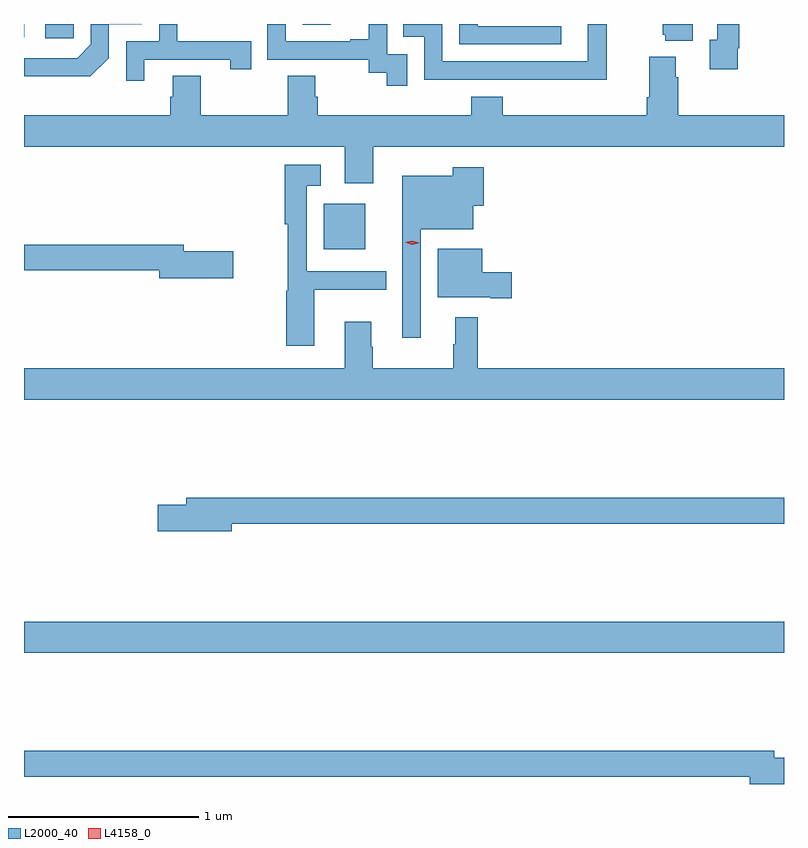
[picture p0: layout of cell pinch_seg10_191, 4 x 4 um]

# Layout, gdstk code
import gdstk
lib = gdstk.Library(unit=1e-6, precision=1e-09)
def R(c, l, rs):  # rectangles x0, y0, x1, y1
    for r in rs: c.add(gdstk.rectangle(r[:2], r[2:], *l))
def P(c, l, *ps):  # polygons
    for p in ps: c.add(gdstk.Polygon(p, *l))
L2000_40 = (2000, 40)
L4158_0 = (4158, 0)

pinch_seg10_191 = lib.new_cell('pinch_seg10_191')
R(pinch_seg10_191, L2000_40, [(855.273,1273.676,859.273,1273.84), (856.85,1275.8,857.068,1276.039), (855.384,1276.911,855.534,1276.985), (855.273,1276.914,855.274,1276.985), (856.74,1276.98,856.888,1276.985)])
P(pinch_seg10_191, L2000_40, [(855.72,1276.806),(855.72,1276.983),(855.894,1276.983),(855.894,1276.985),(855.624,1276.985),(855.624,1276.878),(855.552,1276.806),(855.273,1276.806),(855.273,1276.709),(855.622,1276.709)],
  [(855.907,1276.797),(856.358,1276.797),(856.358,1276.746),(856.469,1276.746),(856.469,1276.893),(856.08,1276.893),(856.08,1276.985),(855.984,1276.985),(855.984,1276.893),(855.81,1276.893),(855.81,1276.686),(855.907,1276.686)],
  [(858.1,1276.974),(857.661,1276.974),(857.661,1276.985),(857.565,1276.985),(857.565,1276.878),(858.1,1276.878)],
  [(858.339,1276.985),(858.24,1276.985),(858.24,1276.788),(857.475,1276.788),(857.475,1276.985),(857.269,1276.985),(857.269,1276.917),(857.379,1276.917),(857.379,1276.692),(857.875,1276.692),(857.875,1276.691),(858.339,1276.691)],
  [(859.03,1276.858),(859.037,1276.858),(859.037,1276.985),(858.921,1276.985),(858.921,1276.902),(858.881,1276.902),(858.881,1276.746),(859.03,1276.746)],
  [(858.793,1276.985),(858.635,1276.985),(858.635,1276.929),(858.647,1276.929),(858.647,1276.898),(858.793,1276.898)],
  [(857.289,1276.827),(857.184,1276.827),(857.184,1276.985),(857.087,1276.985),(857.087,1276.906),(856.991,1276.906),(856.991,1276.893),(856.65,1276.893),(856.65,1276.985),(856.554,1276.985),(856.554,1276.797),(857.088,1276.797),(857.088,1276.729),(857.181,1276.729),(857.181,1276.659),(857.289,1276.659)],
  [(857.11,1276.34),(859.273,1276.34),(859.273,1276.504),(858.716,1276.504),(858.716,1276.706),(858.703,1276.706),(858.703,1276.813),(858.563,1276.813),(858.563,1276.6),(858.551,1276.6),(858.551,1276.504),(857.792,1276.504),(857.792,1276.603),(857.627,1276.603),(857.627,1276.504),(856.82,1276.504),(856.82,1276.602),(856.807,1276.602),(856.807,1276.712),(856.66,1276.712),(856.66,1276.504),(856.203,1276.504),(856.203,1276.712),(856.055,1276.712),(856.055,1276.602),(856.043,1276.602),(856.043,1276.504),(855.273,1276.504),(855.273,1276.34),(856.961,1276.34),(856.961,1276.146),(857.11,1276.146)],
  [(856.801,1275.587),(857.18,1275.587),(857.18,1275.684),(856.761,1275.684),(856.761,1276.133),(856.834,1276.133),(856.834,1276.243),(856.645,1276.243),(856.645,1275.93),(856.66,1275.93),(856.66,1275.581),(856.652,1275.581),(856.652,1275.291),(856.801,1275.291)],
  [(857.361,1275.905),(857.638,1275.905),(857.638,1276.028),(857.693,1276.028),(857.693,1276.231),(857.529,1276.231),(857.529,1276.186),(857.264,1276.186),(857.264,1275.809),(857.265,1275.809),(857.265,1275.333),(857.361,1275.333)],
  [(856.375,1275.788),(856.114,1275.788),(856.114,1275.824),(855.273,1275.824),(855.273,1275.688),(855.986,1275.688),(855.986,1275.646),(856.375,1275.646)],
  [(857.839,1275.678),(857.686,1275.678),(857.686,1275.802),(857.45,1275.802),(857.45,1275.548),(857.726,1275.548),(857.726,1275.541),(857.839,1275.541)],
  [(859.273,1275.172),(857.66,1275.172),(857.66,1275.442),(857.543,1275.442),(857.543,1275.299),(857.532,1275.299),(857.532,1275.172),(857.109,1275.172),(857.109,1275.287),(857.101,1275.287),(857.101,1275.418),(856.961,1275.418),(856.961,1275.172),(855.273,1275.172),(855.273,1275.008),(859.273,1275.008)],
  [(856.366,1274.356),(859.273,1274.356),(859.273,1274.492),(856.127,1274.492),(856.127,1274.456),(855.978,1274.456),(855.978,1274.314),(856.366,1274.314)],
  [(859.273,1273.124),(859.222,1273.124),(859.222,1273.16),(855.273,1273.16),(855.273,1273.024),(859.094,1273.024),(859.094,1272.985),(859.273,1272.985)])
P(pinch_seg10_191, L4158_0, [(857.315,1275.824),(857.279,1275.836),(857.279,1275.836),(857.279,1275.836),(857.316,1275.844),(857.351,1275.833),(857.351,1275.833),(857.351,1275.832)])

lib.write_gds('pinch_seg10_191.gds')
